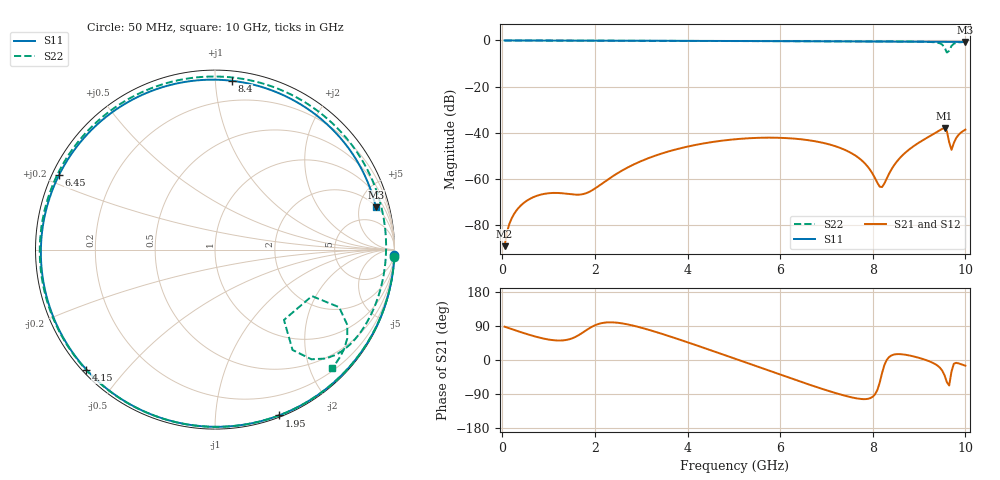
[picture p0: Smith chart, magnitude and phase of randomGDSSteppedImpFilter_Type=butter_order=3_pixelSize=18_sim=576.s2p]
! freq	dB(S11)	phase(S11)	dB(S12)	phase(S12)
!  dB(S21)	phase(S21)	dB(S22)	phase(S22)
!S-par simulation data
#  GHz  S  DB  R 50
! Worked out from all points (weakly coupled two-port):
!   200 points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, 50 MHz to 10 GHz, reference 50 ohm
!   highest |S21| = -38.00 dB at 9.55 GHz (marker M1); lowest = -89.0 dB at 50 MHz (marker M2)
!   lowest |S11| = -0.7 dB at 10 GHz (marker M3), VSWR 26.50, Z = 105 + j355 ohm
!   |S11| at or under -10 dB: nowhere
!   |S22| runs from -5.2 to 0.0 dB; largest |S21 - S12| = 0
!   S11 on the Smith chart (normalised r, x): 50 MHz: 0, -62; 1.95 GHz: 0.02, -1.46; 4.15 GHz: 0.01, -0.39; 6.45 GHz: 0.02, +0.23; 8.4 GHz: 0.06, +1.10; 10 GHz: 2.11, +7.10
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0.05  -0.00 -1.9  -89.02 87.9  -89.02 87.9  -0.00 -2.5
0.7  -0.03 -25.5  -67.57 62.3  -67.57 62.3  -0.04 -33.7
1.75  -0.08 -62.2  -66.46 73.4  -66.46 73.4  -0.10 -82.0
1.95  -0.09 -68.9  -64.72 88.6  -64.72 88.6  -0.11 -90.7
2.6  -0.11 -90.1  -56.14 96.4  -56.14 96.4  -0.14 -118.3
3.4  -0.14 -114.7  -49.20 70.8  -49.20 70.8  -0.17 -150.9
4.15  -0.17 -136.9  -45.30 40.6  -45.30 40.6  -0.21 179.0
5.05  -0.23 -163.1  -42.71 2.3  -42.71 2.3  -0.26 142.4
5.8  -0.28 174.6  -42.06 -30.0  -42.06 -30.0  -0.29 111.0
6.45  -0.33 154.4  -42.76 -57.6  -42.76 -57.6  -0.32 83.1
6.7  -0.35 146.4  -43.43 -67.9  -43.43 -67.9  -0.33 72.4
7.65  -0.42 113.4  -50.15 -101.3  -50.15 -101.3  -0.36 32.1
8.15  -0.47 94.4  -63.27 -59.7  -63.27 -59.7  -0.39 11.7
8.35  -0.48 86.4  -57.73 7.5  -57.73 7.5  -0.41 3.8
8.4  -0.49 84.4  -55.91 11.9  -55.91 11.9  -0.41 1.8
9.2  -0.56 50.6  -41.77 -2.5  -41.77 -2.5  -0.62 -30.3
9.55  -0.60 35.0  -38.00 -40.3  -38.00 -40.3  -3.02 -52.3
9.6  -0.60 32.8  -39.23 -58.6  -39.23 -58.6  -5.21 -45.6
9.65  -0.61 30.5  -44.06 -67.2  -44.06 -67.2  -4.45 -25.6
9.7  -0.61 28.3  -47.33 -30.5  -47.33 -30.5  -2.36 -24.9
9.8  -0.63 23.8  -42.25 -7.5  -42.25 -7.5  -1.03 -33.9
10  -0.66 14.8  -38.59 -15.1  -38.59 -15.1  -0.66 -45.3
